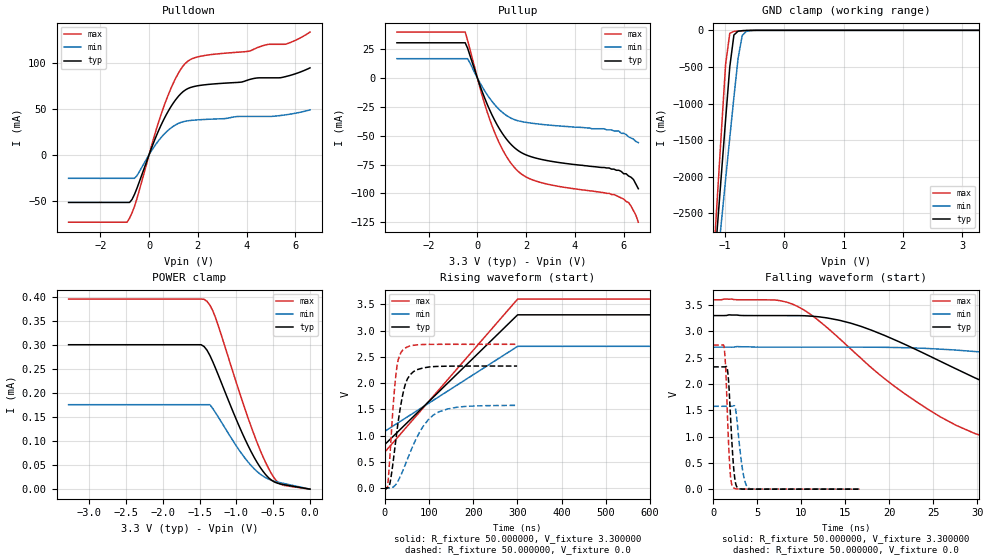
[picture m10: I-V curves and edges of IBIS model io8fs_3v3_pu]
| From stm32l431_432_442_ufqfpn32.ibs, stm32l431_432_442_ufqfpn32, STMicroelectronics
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|   Model io8fs_3v3_pu
[Model]  io8fs_3v3_pu
Model_type I/O
Polarity   Non-Inverting
Enable   Active-Low
Vinl =   0.990000V
Vinh =   2.310000V
Vmeas =  1.650000V
Cref =   100.000000nF
Rref =   1.000000k
Vref =   3.300000V
C_comp   2.267200pF   2.233100pF   2.322300pF
[Temperature Range]   25.000000   0.125000k   -40.000000
[Pullup Reference]   3.300000V   2.700000V   3.600000V
[Pulldown Reference]   0.0V   0.0V   0.0V
[POWER Clamp Reference]   3.300000V   2.700000V   3.600000V
[GND Clamp Reference]   0.0V   0.0V   0.0V
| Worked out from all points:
|   slope of the pulldown table from 0 to 0.495 V, typ, clamps not added: 15.3 ohm
|   slope of the pullup table from 0 to 0.495 V, typ, clamps not added: 18.1 ohm
|   GND clamp passes 1 mA (typ) near -0.58 V on its own axis
|   rising waveform, R_fixture 50.000000, V_fixture 3.300000: 20-80 % time 180ns typ, 180ns min, 180ns max; typ from 0.832 V to 3.3 V
|   rising waveform, R_fixture 50.000000, V_fixture 0.0: 20-80 % time 24.3ns typ, 54.5ns min, 14.6ns max; typ from 0.001 V to 2.33 V
|   falling waveform, R_fixture 50.000000, V_fixture 3.300000: 20-80 % time 21ns typ, 41.5ns min, 13.7ns max; typ from 3.3 V to 0.832 V
|   falling waveform, R_fixture 50.000000, V_fixture 0.0: 20-80 % time 474ps typ, 656ps min, 393ps max; typ from 2.33 V to 0.001 V
[Pulldown]
|Voltage   I(typ)   I(min)   I(max)
-3.3V     -51.86mA   -25.67mA   -73.32mA
-900mV    -51.86mA   -25.67mA   -73.32mA
-700mV    -48.68mA   -25.67mA   -63.27mA
-500mV    -36.68mA   -22.92mA   -47.9mA
200mV     14.09mA    8.363mA    18.97mA
700mV     43.2mA     24.54mA    59.15mA
1.2V      63.38mA    34mA       88.53mA
1.6V      72.01mA    36.89mA    101.8mA
4.1V      81.56mA    41.59mA    112.4mA
4.9V      83.55mA    41.59mA    120mA
5.6V      84.89mA    43.33mA    120.1mA
6.6V      94.39mA    48.68mA    133.3mA
[Pullup]
|Voltage   I(typ)   I(min)   I(max)
-3.3V     30.51mA    16.73mA    39.78mA
-500mV    30.51mA    16.73mA    39.78mA
-400mV    25.73mA    16.73mA    32.44mA
200mV     -11.99mA   -7.69mA    -15.6mA
500mV     -27.53mA   -17.49mA   -35.6mA
1V        -47.29mA   -29.37mA   -60.81mA
1.5V      -60.05mA   -35.95mA   -77.15mA
1.9V      -65.76mA   -38.13mA   -84.63mA
2.6V      -70.47mA   -40.14mA   -90.6mA
5.6V      -79mA      -46mA      -101mA
6.2V      -85mA      -51mA      -108mA
6.6V      -96mA      -56mA      -125mA
[GND_clamp]
|Voltage   I(typ)   I(min)   I(max)
-3.3V     -9.456A    -9.706A    -9.779A
-1.2V     -3.441A    -3.76A     -3.218A
-1.13V    -2.694A    -3.182A    -2.288A
-1.06V    -1.951A    -2.607A    -1.365A
-990mV    -1.216A    -2.035A    -464.9mA
-920mV    -500mA     -1.468A    -40.15mA
-850mV    -63.51mA   -913mA     -13.79mA
-780mV    -11.84mA   -384.3mA   -8.858mA
-710mV    -4.78mA    -70.26mA   -5.228mA
-640mV    -2.25mA    -14.29mA   -2.447mA
-430mV    -27.1uA    -149uA     -11.19uA
3.28V     0A         0A         0A
[POWER_clamp]
|Voltage   I(typ)   I(min)   I(max)
-3.28V    301.3uA    176.2uA    396.6uA
-1.48V    301.3uA    176.2uA    396.6uA
-1.4V     290uA      176.2uA    391.9uA
-1.36V    278.9uA    176.2uA    384uA
-1.28V    250.9uA    158.7uA    356.2uA
-1V       144.8uA    89.98uA    221.7uA
-840mV    90.38uA    56.36uA    147.8uA
-680mV    46.32uA    31.78uA    82.44uA
-560mV    23.38uA    20.73uA    42.33uA
-480mV    14.66uA    16.5uA     21.94uA
-400mV    10.77uA    13.43uA    10.23uA
0V        0A         0A         0A
[Ramp]
| variable   typ   min   max
dV/dt_r  1.39450/24.32029n   0.94482/54.54234n   1.64288/14.56534n
dV/dt_f  1.48066/21.06490n   0.97008/44.49579n   1.74725/13.65133n
R_load = 50.000000
[Rising Waveform]
R_fixture= 50.000000
V_fixture= 3.300000
V_fixture_min= 2.700000
V_fixture_max= 3.600000
|time   V(typ)   V(min)   V(max)
0s        832.2mV    1.083V     687.9mV
300.3ns   3.3V       2.7V       3.6V
600.6ns   3.3V       2.7V       3.6V
29.73us   3.3V       2.7V       3.6V
[Rising Waveform]
R_fixture= 50.000000
V_fixture= 0.0
V_fixture_min= 0.0
V_fixture_max= 0.0
|time   V(typ)   V(min)   V(max)
0s        929.1uV    1.395mV    658.7uV
7.207ns   6.479mV    4.346mV    119.8mV
12.61ns   142.1mV    5.612mV    767.6mV
19.82ns   573.9mV    27.38mV    1.677V
27.63ns   1.104V     104.5mV    2.328V
41.44ns   1.817V     349.8mV    2.637V
64.86ns   2.22V      832.4mV    2.72V
88.89ns   2.292V     1.204V     2.736V
122.5ns   2.319V     1.455V     2.739V
299.1ns   2.325V     1.576V     2.739V
[Falling Waveform]
R_fixture= 50.000000
V_fixture= 3.300000
V_fixture_min= 2.700000
V_fixture_max= 3.600000
|time   V(typ)   V(min)   V(max)
0s        3.3V       2.7V       3.6V
9.61ns    3.3V       2.7V       3.473V
15.62ns   3.157V     2.7V       2.667V
24.62ns   2.527V     2.672V     1.495V
29.73ns   2.117V     2.617V     1.058V
33.63ns   1.831V     2.557V     907.2mV
46.55ns   1.158V     2.272V     764.1mV
60.06ns   970.6mV    1.923V     721.1mV
93.69ns   862.2mV    1.287V     693.7mV
149.5ns   832.2mV    1.083V     687.9mV
[Falling Waveform]
R_fixture= 50.000000
V_fixture= 0.0
V_fixture_min= 0.0
V_fixture_max= 0.0
|time   V(typ)   V(min)   V(max)
0s        2.325V     1.576V     2.739V
1.235ns   2.325V     1.576V     2.705V
1.435ns   2.33V      1.576V     2.254V
1.702ns   2.151V     1.576V     1.063V
1.969ns   1.384V     1.576V     247.4mV
2.302ns   455.4mV    1.585V     27.13mV
2.703ns   41.82mV    1.315V     5.034mV
3.403ns   2.182mV    304mV      3.038mV
4.037ns   1.17mV     17.22mV    3.006mV
16.62ns   929.1uV    1.395mV    658.7uV
